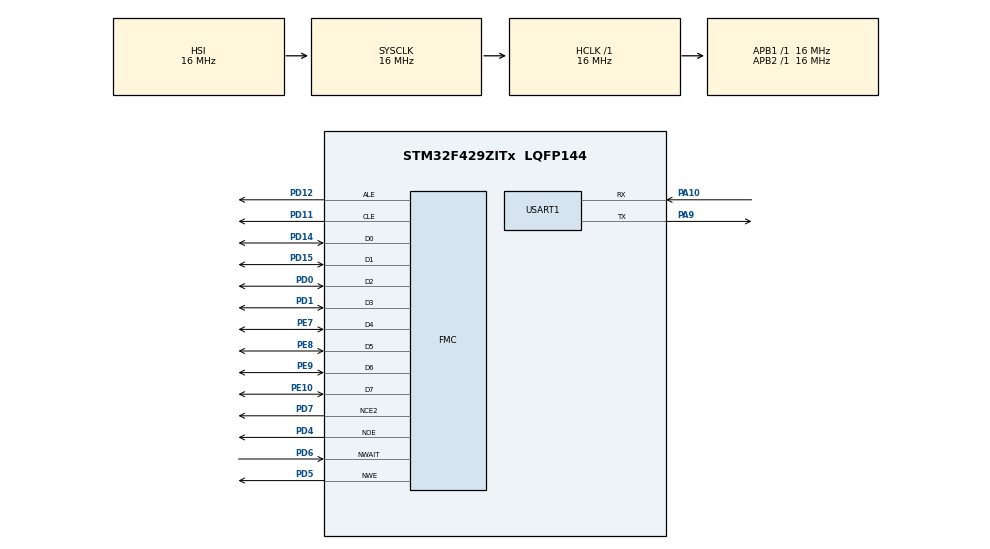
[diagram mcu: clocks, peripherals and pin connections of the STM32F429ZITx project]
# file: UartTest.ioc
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Mcu.Family=STM32F4
Mcu.Name=STM32F429ZITx
Mcu.Package=LQFP144
NVIC.PriorityGroup=NVIC_PRIORITYGROUP_4
PA10.Mode=Asynchronous
PA10.Signal=USART1_RX
PA9.Mode=Asynchronous
PA9.Signal=USART1_TX
PD0.Signal=FMC_D2_DA2
PD1.Signal=FMC_D3_DA3
PD11.Signal=FMC_A16_CLE
PD12.Signal=FMC_A17_ALE
PD14.Signal=FMC_D0_DA0
PD15.Signal=FMC_D1_DA1
PD4.Signal=FMC_NOE
PD5.Signal=FMC_NWE
PD6.Signal=FMC_NWAIT
PD7.Mode=NandChipSelect2_1
PD7.Signal=FMC_NCE2
PE10.Signal=FMC_D7_DA7
PE7.Signal=FMC_D4_DA4
PE8.Signal=FMC_D5_DA5
PE9.Signal=FMC_D6_DA6
ProjectManager.HeapSize=0x200
ProjectManager.StackSize=0x400
ProjectManager.TargetToolchain=STM32CubeIDE
RCC.48MHZClocksFreq_Value=48000000
RCC.AHBFreq_Value=16000000
RCC.APB1Freq_Value=16000000
RCC.APB2Freq_Value=16000000
RCC.CortexFreq_Value=16000000
RCC.HSE_VALUE=25000000
RCC.HSI_VALUE=16000000
RCC.LSE_VALUE=32768
RCC.SYSCLKFreq_VALUE=16000000
RCC.VCOOutputFreq_Value=192000000
SH.FMC_A16_CLE.0=FMC_CLE,8b-dmux1
SH.FMC_A17_ALE.0=FMC_ALE,8b-dmux1
SH.FMC_D0_DA0.0=FMC_D0,8b-dmux1
SH.FMC_D1_DA1.0=FMC_D1,8b-dmux1
SH.FMC_D2_DA2.0=FMC_D2,8b-dmux1
SH.FMC_D3_DA3.0=FMC_D3,8b-dmux1
SH.FMC_D4_DA4.0=FMC_D4,8b-dmux1
SH.FMC_D5_DA5.0=FMC_D5,8b-dmux1
SH.FMC_D6_DA6.0=FMC_D6,8b-dmux1
SH.FMC_D7_DA7.0=FMC_D7,8b-dmux1
SH.FMC_NOE.0=FMC_NOE,8b-dmux1
SH.FMC_NWAIT.0=FMC_NWAIT,Wait1
SH.FMC_NWE.0=FMC_NWE,8b-dmux1
USART1.VirtualMode=VM_ASYNC
board=custom

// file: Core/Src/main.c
/* USER CODE BEGIN Header */
/**
  ******************************************************************************
  * @file           : main.c
  * @brief          : Main program body
  ******************************************************************************
  * @attention
  *
  * <h2><center>&copy; Copyright (c) 2019 STMicroelectronics.
  * All rights reserved.</center></h2>
  *
  * This software component is licensed by ST under BSD 3-Clause license,
  * the "License"; You may not use this file except in compliance with the
  * License. You may obtain a copy of the License at:
  *                        opensource.org/licenses/BSD-3-Clause
  *
  ******************************************************************************
  */
/* USER CODE END Header */

#include "main.h"

static UART_HandleTypeDef huart1;

NAND_HandleTypeDef hnand1;

/* USER CODE BEGIN PV */
static NAND_HandleTypeDef hNAND; /* NAND handle */
static FMC_NAND_PCC_TimingTypeDef NAND_ComTiming; /* Common memory space timing */
static FMC_NAND_PCC_TimingTypeDef NAND_AttTiming; /* Attribute memory space timing */
static NAND_IDTypeDef NAND_ID = {0};
//uint8_t aTxBuffer[BUFFER_SIZE] = {0x41, 0x41, 0x41, 0x41, 0x41, 0x41, 0x41, 0x41, 0x41, 0x41, 0x41, 0x41, 0x41, 0x41, 0x41, 0x41};
uint8_t aTxBuffer[BUFFER_SIZE] = {0};
uint8_t aRxBuffer[BUFFER_SIZE]= {0};
uint8_t stableBytes1[BUFFER_SIZE] = {0};
uint8_t stableBytes3[BUFFER_SIZE] = {0};
#define PAGE_0 0
/* USER CODE END PV */

void SystemClock_Config(void);
static void MX_GPIO_Init(void);
static void MX_FMC_Init(void);
static void MX_USART1_UART_Init(void);
/* USER CODE BEGIN PFP */
/*int _write(int file, char *data, int len)
{
   HAL_StatusTypeDef status = HAL_UART_Transmit(&huart1, (uint8_t*)data, len, 1000);

   // return # of bytes written - as best we can tell
   return (status == HAL_OK ? len : 0);
}*/
/* USER CODE END PFP */

/* USER CODE BEGIN 0 */
int NandControllerInitAndTest(void)
{
//NAND_AddressTypedef Address;

 /*##-1- Configure the NAND device ###############################*/
//	hNAND.Instance = FMC_NAND_DEVICE;
//
	/* NAND device configuration */
	NAND_ComTiming.SetupTime = 0xf1;
	NAND_ComTiming.WaitSetupTime = 0xf2;
	NAND_ComTiming.HoldSetupTime = 0xf3;
	NAND_ComTiming.HiZSetupTime = 0xf1;
	NAND_AttTiming.SetupTime = 0xf1;
	NAND_AttTiming.WaitSetupTime = 0xf2;
	NAND_AttTiming.HoldSetupTime = 0xf3;
	NAND_AttTiming.HiZSetupTime = 0xf1;

	hNAND.Init.NandBank = FMC_NAND_BANK2;
	hNAND.Init.Waitfeature = FMC_NAND_PCC_WAIT_FEATURE_ENABLE;

	hNAND.Init.MemoryDataWidth = FMC_NAND_PCC_MEM_BUS_WIDTH_8;
	hNAND.Init.EccComputation = FMC_NAND_ECC_DISABLE;
	hNAND.Init.ECCPageSize = FMC_NAND_ECC_PAGE_SIZE_512BYTE;
	hNAND.Init.TCLRSetupTime = 0x0;
	hNAND.Init.TARSetupTime = 0x0;
	hNAND.Config.BlockNbr = 0x400;
	hNAND.Config.BlockSize = 0x40;
	hNAND.Config.PageSize = 0x800;
	hNAND.Config.PlaneNbr = 0x01;
	hNAND.Config.PlaneSize = 0x400;
	hNAND.Config.SpareAreaSize = 0x40;

	uint8_t nextLine[0X02] = "\n\n";
	uint8_t iterationStr[32] = "ITERATION PAGE IS THE FOLLOWING";
	uint8_t flippedBitStr[41] = "FLIPPED BIT PAGE NUMBER IS THE FOLLOWING";
	uint8_t deviceInfo[28] = "PRINTING DEVICE INFORMATION";

	/* NAND controller initialization */
	if(HAL_NAND_Init(&hNAND, &NAND_ComTiming, &NAND_AttTiming) != HAL_OK)
	{
		return NAND_STATUS_INIT_ERROR;
	}

	/*##-2- Read & check the NAND device IDs ########################*/
	/* Read the NAND memory ID */
	if(HAL_NAND_Read_ID(&hNAND, &NAND_ID) != HAL_OK)
	{
		return NAND_STATUS_READ_ID_ERROR;
	}

	HAL_UART_Transmit(&huart1, deviceInfo, sizeof(deviceInfo), 100);
	HAL_Delay(100);
	HAL_UART_Transmit(&huart1, nextLine, sizeof(nextLine), 100);
	HAL_Delay(100);
	HAL_UART_Transmit(&huart1, nextLine, sizeof(nextLine), 100);
	HAL_Delay(100);
	HAL_UART_Transmit(&huart1, &(NAND_ID.Maker_Id), sizeof(&(NAND_ID.Maker_Id)), 100);
	HAL_Delay(100);
	HAL_UART_Transmit(&huart1, &(NAND_ID.Device_Id), sizeof(&(NAND_ID.Device_Id)), 100);
	HAL_Delay(100);
	HAL_UART_Transmit(&huart1, &(NAND_ID.Third_Id), sizeof(&(NAND_ID.Third_Id)), 100);
	HAL_Delay(100);
	HAL_UART_Transmit(&huart1, nextLine, sizeof(nextLine), 100);
	HAL_Delay(100);
	HAL_UART_Transmit(&huart1, nextLine, sizeof(nextLine), 100);
	HAL_Delay(100);
	HAL_UART_Transmit(&huart1, nextLine, sizeof(nextLine), 100);
	HAL_Delay(100);

	NAND_AddressTypedef Address_BLOCK_0;

	Address_BLOCK_0.Page = PAGE_0;
	Address_BLOCK_0.Plane = 0;
	Address_BLOCK_0.Block = 0;

	/* Send NAND erase block operation */
	if (HAL_NAND_Erase_Block(&hNAND, &Address_BLOCK_0) != HAL_OK)
	{
		return NAND_STATUS_ERASE_ERROR;
	}

	for(int i=0; i<BUFFER_SIZE; i++)
	{
	    aTxBuffer[i] = 0XAA;
	    stableBytes1[i] = 0X00;
	}

	uint8_t page = 0X00;
	uint8_t ipage = 0X00;
	uint8_t flag = 0X00;

	/* Write test-data to all the pages in the block the NAND memory */
	for(page=0X00; page <= 0X40; page++){
		Address_BLOCK_0.Page = page;
		if (HAL_NAND_Write_Page_8b(&hNAND, &Address_BLOCK_0, aTxBuffer, 1) != HAL_OK){
				return NAND_STATUS_WRITE_ERROR;
		}
	}

	// Iterate over all the 64 pages,
	// On each iteration, write to a single page continuously 10000 times
	// and then reading other pages to check for program disturb.
	// Print only if there is a bit-flip detected.
	// stableBytes - represents the program disturb.
	for(page=0X00; page <= 0X10; page++){
		HAL_UART_Transmit(&huart1, iterationStr, sizeof(iterationStr), 100);
		HAL_Delay(100);
		HAL_UART_Transmit(&huart1, nextLine, sizeof(nextLine), 100);
		HAL_Delay(100);
		HAL_UART_Transmit(&huart1, nextLine, sizeof(nextLine), 100);
		HAL_Delay(100);
		HAL_UART_Transmit(&huart1, &page, sizeof(&page), 100);
		HAL_Delay(100);
		HAL_UART_Transmit(&huart1, nextLine, sizeof(nextLine), 100);
		HAL_Delay(100);
		HAL_UART_Transmit(&huart1, nextLine, sizeof(nextLine), 100);
		HAL_Delay(100);
		Address_BLOCK_0.Page = page;
		/* Reset the stableBytes1 */
		for(int is=0; is<BUFFER_SIZE; is++){
			stableBytes1[is] = 0X00;
		}

		/* Send NAND erase block operation */
		if (HAL_NAND_Erase_Block(&hNAND, &Address_BLOCK_0) != HAL_OK)
		{
			return NAND_STATUS_ERASE_ERROR;
		}

		/*##-4- NAND memory read/write access ###########################*/
		/* Write data to the NAND memory */
		for(ipage=0X00; ipage <= 0X40; ipage++){
			Address_BLOCK_0.Page = ipage;
			if (HAL_NAND_Write_Page_8b(&hNAND, &Address_BLOCK_0, aTxBuffer, 1) != HAL_OK){
					return NAND_STATUS_WRITE_ERROR;
			}
		}

		Address_BLOCK_0.Page = page;
		for(int i = 0; i < 5000; i++){
			if (HAL_NAND_Write_Page_8b(&hNAND, &Address_BLOCK_0, aTxBuffer, 1) != HAL_OK){
				return NAND_STATUS_WRITE_ERROR;
			}
		}

		/* Read back data from the NAND memory */
		for(ipage = 0; ipage < 0X40; ipage++){
			Address_BLOCK_0.Page = ipage;
			if (HAL_NAND_Read_Page_8b(&hNAND, &Address_BLOCK_0, aRxBuffer, 1) != HAL_OK){
				return NAND_STATUS_READ_ERROR;
			}
			for(int i=0; i<BUFFER_SIZE; i++){
				if(aRxBuffer[i]==0XAA)
				{
					stableBytes1[i] = 0XAA;
				}
				else{
					stableBytes1[i] = aRxBuffer[i];
					flag = 0X01;
				}
			}
			// Print only for fliped bits
			if(flag == 0X01){
				HAL_UART_Transmit(&huart1, flippedBitStr, sizeof(flippedBitStr), 100);
				HAL_Delay(100);
				HAL_UART_Transmit(&huart1, nextLine, sizeof(nextLine), 100);
				HAL_Delay(100);
				HAL_UART_Transmit(&huart1, nextLine, sizeof(nextLine), 100);
				HAL_Delay(100);
				HAL_UART_Transmit(&huart1, &ipage, sizeof(&ipage), 100);
				HAL_Delay(100);
				HAL_UART_Transmit(&huart1, nextLine, sizeof(nextLine), 100);
				HAL_Delay(100);
				HAL_UART_Transmit(&huart1, nextLine, sizeof(nextLine), 100);
				HAL_Delay(100);
				HAL_UART_Transmit(&huart1, nextLine, sizeof(nextLine), 100);
				HAL_Delay(100);
				HAL_UART_Transmit(&huart1, nextLine, sizeof(nextLine), 100);
				HAL_Delay(100);
				HAL_UART_Transmit(&huart1, stableBytes1, sizeof(stableBytes1), 100);
				HAL_Delay(100);
				HAL_UART_Transmit(&huart1, nextLine, sizeof(nextLine), 100);
				HAL_Delay(100);
				HAL_UART_Transmit(&huart1, nextLine, sizeof(nextLine), 100);
				HAL_Delay(100);
				HAL_UART_Transmit(&huart1, nextLine, sizeof(nextLine), 100);
				HAL_Delay(100);
				HAL_UART_Transmit(&huart1, nextLine, sizeof(nextLine), 100);
				HAL_Delay(100);
				flag = 0X00;
			}
		}
	}
	return NAND_STATUS_OK;
}
/* USER CODE END 0 */

int main(void)
{

  /* MCU Configuration--------------------------------------------------------*/

  /* Reset of all peripherals, Initializes the Flash interface and the Systick. */
  HAL_Init();

  /* Configure the system clock */
  SystemClock_Config();

  /* Initialize all configured peripherals */
  MX_GPIO_Init();
  MX_FMC_Init();
  MX_USART1_UART_Init();

  /* Infinite loop */
  /* USER CODE BEGIN WHILE */

  uint8_t errorMsg[21] = "Something Went Wrong";
  uint8_t successMsg[27] = "SUCCESS RERUNNING THE TEST";
  uint8_t nextLine[0X02] = "\n\n";

  while (1)
  {
    /* USER CODE END WHILE */
	if(NandControllerInitAndTest() != NAND_STATUS_OK){
		HAL_UART_Transmit(&huart1, errorMsg, sizeof(errorMsg), 100);
		HAL_Delay(500);
	}
	else{
		HAL_UART_Transmit(&huart1, successMsg, sizeof(successMsg), 100);
		HAL_Delay(500);
		HAL_UART_Transmit(&huart1, nextLine, sizeof(nextLine), 100);
		HAL_Delay(500);
		HAL_UART_Transmit(&huart1, nextLine, sizeof(nextLine), 100);
		HAL_Delay(500);
		HAL_UART_Transmit(&huart1, nextLine, sizeof(nextLine), 100);
		HAL_Delay(500);
		HAL_UART_Transmit(&huart1, nextLine, sizeof(nextLine), 100);
		HAL_Delay(500);
	}
  }
}

void SystemClock_Config(void)
{
  RCC_OscInitTypeDef RCC_OscInitStruct = {0};
  RCC_ClkInitTypeDef RCC_ClkInitStruct = {0};

  /** Configure the main internal regulator output voltage
  */
  __HAL_RCC_PWR_CLK_ENABLE();
  __HAL_PWR_VOLTAGESCALING_CONFIG(PWR_REGULATOR_VOLTAGE_SCALE3);
  /** Initializes the CPU, AHB and APB busses clocks
  */
  RCC_OscInitStruct.OscillatorType = RCC_OSCILLATORTYPE_HSI;
  RCC_OscInitStruct.HSIState = RCC_HSI_ON;
  RCC_OscInitStruct.HSICalibrationValue = RCC_HSICALIBRATION_DEFAULT;
  RCC_OscInitStruct.PLL.PLLState = RCC_PLL_NONE;
  if (HAL_RCC_OscConfig(&RCC_OscInitStruct) != HAL_OK)
  {
    Error_Handler();
  }
  /** Initializes the CPU, AHB and APB busses clocks
  */
  RCC_ClkInitStruct.ClockType = RCC_CLOCKTYPE_HCLK|RCC_CLOCKTYPE_SYSCLK
                              |RCC_CLOCKTYPE_PCLK1|RCC_CLOCKTYPE_PCLK2;
  RCC_ClkInitStruct.SYSCLKSource = RCC_SYSCLKSOURCE_HSI;
  RCC_ClkInitStruct.AHBCLKDivider = RCC_SYSCLK_DIV1;
  RCC_ClkInitStruct.APB1CLKDivider = RCC_HCLK_DIV1;
  RCC_ClkInitStruct.APB2CLKDivider = RCC_HCLK_DIV1;

  if (HAL_RCC_ClockConfig(&RCC_ClkInitStruct, FLASH_LATENCY_0) != HAL_OK)
  {
    Error_Handler();
  }
}

static void MX_USART1_UART_Init(void)
{
	//HAL_UART_StateTypeDef

  huart1.Instance = USART1;
  huart1.Init.BaudRate = 115200;
  huart1.Init.WordLength = UART_WORDLENGTH_8B;
  huart1.Init.StopBits = UART_STOPBITS_1;
  huart1.Init.Parity = UART_PARITY_NONE;
  huart1.Init.Mode = UART_MODE_TX_RX;
  huart1.Init.HwFlowCtl = UART_HWCONTROL_NONE;
  huart1.Init.OverSampling = UART_OVERSAMPLING_16;

  if (HAL_UART_Init(&huart1) != HAL_OK)
  {
    Error_Handler();
  }

}

/* FMC initialization function */
static void MX_FMC_Init(void)
{

  FMC_NAND_PCC_TimingTypeDef ComSpaceTiming = {0};
  FMC_NAND_PCC_TimingTypeDef AttSpaceTiming = {0};

  /** Perform the NAND1 memory initialization sequence
  */
  hnand1.Instance = FMC_NAND_DEVICE;
  /* hnand1.Init */
  hnand1.Init.NandBank = FMC_NAND_BANK2;
  hnand1.Init.Waitfeature = FMC_NAND_PCC_WAIT_FEATURE_ENABLE;
  hnand1.Init.MemoryDataWidth = FMC_NAND_PCC_MEM_BUS_WIDTH_8;
  hnand1.Init.EccComputation = FMC_NAND_ECC_DISABLE;
  hnand1.Init.ECCPageSize = FMC_NAND_ECC_PAGE_SIZE_256BYTE;
  hnand1.Init.TCLRSetupTime = 0;
  hnand1.Init.TARSetupTime = 0;
  /* hnand1.Config */
  hnand1.Config.PageSize = 0;
  hnand1.Config.SpareAreaSize = 0;
  hnand1.Config.BlockSize = 0;
  hnand1.Config.BlockNbr = 0;
  hnand1.Config.PlaneNbr = 0;
  hnand1.Config.PlaneSize = 0;
  hnand1.Config.ExtraCommandEnable = DISABLE;
  /* ComSpaceTiming */
  ComSpaceTiming.SetupTime = 252;
  ComSpaceTiming.WaitSetupTime = 252;
  ComSpaceTiming.HoldSetupTime = 252;
  ComSpaceTiming.HiZSetupTime = 252;
  /* AttSpaceTiming */
  AttSpaceTiming.SetupTime = 252;
  AttSpaceTiming.WaitSetupTime = 252;
  AttSpaceTiming.HoldSetupTime = 252;
  AttSpaceTiming.HiZSetupTime = 252;

  if (HAL_NAND_Init(&hnand1, &ComSpaceTiming, &AttSpaceTiming) != HAL_OK)
  {
    Error_Handler( );
  }

}

static void MX_GPIO_Init(void)
{

  /* GPIO Ports Clock Enable */
  __HAL_RCC_GPIOE_CLK_ENABLE();
  __HAL_RCC_GPIOD_CLK_ENABLE();
  __HAL_RCC_GPIOA_CLK_ENABLE();

}

void Error_Handler(void)
{
}

/************************ (C) COPYRIGHT STMicroelectronics *****END OF FILE****/
